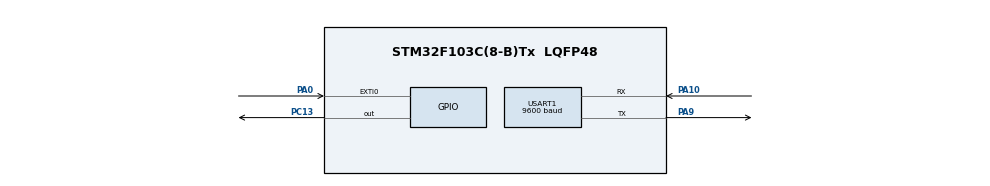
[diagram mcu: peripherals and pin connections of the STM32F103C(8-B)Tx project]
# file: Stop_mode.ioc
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Mcu.Family=STM32F1
Mcu.Name=STM32F103C(8-B)Tx
Mcu.Package=LQFP48
NVIC.EXTI0_IRQn=true\:0\:0\:false\:false\:true\:true\:true\:true
NVIC.PriorityGroup=NVIC_PRIORITYGROUP_4
NVIC.USART1_IRQn=true\:0\:0\:false\:false\:true\:true\:true\:true
PA0-WKUP.GPIO_ModeDefaultEXTI=GPIO_MODE_IT_FALLING
PA0-WKUP.GPIO_PuPd=GPIO_PULLUP
PA0-WKUP.Signal=GPXTI0
PA10.Mode=Asynchronous
PA10.Signal=USART1_RX
PA13.Mode=Serial_Wire
PA13.Signal=SYS_JTMS-SWDIO
PA14.Mode=Serial_Wire
PA14.Signal=SYS_JTCK-SWCLK
PA9.Mode=Asynchronous
PA9.Signal=USART1_TX
PC13-TAMPER-RTC.GPIO_PuPd=GPIO_NOPULL
PC13-TAMPER-RTC.PinState=GPIO_PIN_SET
PC13-TAMPER-RTC.Signal=GPIO_Output
ProjectManager.HeapSize=0x200
ProjectManager.StackSize=0x400
ProjectManager.TargetToolchain=Makefile
RCC.APB1Freq_Value=8000000
RCC.APB2Freq_Value=8000000
USART1.BaudRate=9600
USART1.VirtualMode=VM_ASYNC
board=custom

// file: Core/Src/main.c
/* USER CODE BEGIN Header */
/**
  ******************************************************************************
  * @file           : main.c
  * @brief          : Main program body
  ******************************************************************************
  * @attention
  *
  * Copyright (c) 2022 STMicroelectronics.
  * All rights reserved.
  *
  * This software is licensed under terms that can be found in the LICENSE file
  * in the root directory of this software component.
  * If no LICENSE file comes with this software, it is provided AS-IS.
  *
  ******************************************************************************
  */
/* USER CODE END Header */
#include "main.h"
#include "usart.h"
#include "gpio.h"

/* USER CODE BEGIN Includes */
#include "string.h"
/* USER CODE END Includes */

/* USER CODE BEGIN PV */
uint8_t rx[10];
/* USER CODE END PV */

void SystemClock_Config(void);

int main(void)
{

  /* MCU Configuration--------------------------------------------------------*/

  /* Reset of all peripherals, Initializes the Flash interface and the Systick. */
  HAL_Init();

  /* Configure the system clock */
  SystemClock_Config();

  /* Initialize all configured peripherals */
  MX_GPIO_Init();
  MX_USART1_UART_Init();
  /* USER CODE BEGIN 2 */
  HAL_UART_Receive_IT(&huart1, rx, 0);
  // /****** Suspend the Ticks before entering the STOP mode or else this can wake the device up **********/
  // HAL_SuspendTick();
  //HAL_GPIO_WritePin(GPIOC, GPIO_PIN_13, GPIO_PIN_SET);
  // HAL_PWR_EnableSleepOnExit();

  // /* Enter Stop Mode */
  // HAL_PWR_EnterSTOPMode(PWR_LOWPOWERREGULATOR_ON, PWR_STOPENTRY_WFI);
  /* USER CODE END 2 */

  /* Infinite loop */
  while (1)
  {

    /* USER CODE BEGIN 3 */
    //HAL_GPIO_TogglePin(GPIOC, GPIO_PIN_13);
    /****** Suspend the Ticks before entering the STOP mode or else this can wake the device up **********/
    HAL_SuspendTick();
    HAL_PWR_EnableSleepOnExit();
    /* Enter Stop Mode */
    HAL_PWR_EnterSTOPMode(PWR_LOWPOWERREGULATOR_ON, PWR_STOPENTRY_WFI);
  	SystemClock_Config ();
	  HAL_ResumeTick();
    HAL_Delay(100);
    HAL_GPIO_TogglePin(GPIOC, GPIO_PIN_13);
    HAL_Delay(500);
  }
  /* USER CODE END 3 */
}

void SystemClock_Config(void)
{
  RCC_OscInitTypeDef RCC_OscInitStruct = {0};
  RCC_ClkInitTypeDef RCC_ClkInitStruct = {0};

  /** Initializes the RCC Oscillators according to the specified parameters
  * in the RCC_OscInitTypeDef structure.
  */
  RCC_OscInitStruct.OscillatorType = RCC_OSCILLATORTYPE_HSI;
  RCC_OscInitStruct.HSIState = RCC_HSI_ON;
  RCC_OscInitStruct.HSICalibrationValue = RCC_HSICALIBRATION_DEFAULT;
  RCC_OscInitStruct.PLL.PLLState = RCC_PLL_NONE;
  if (HAL_RCC_OscConfig(&RCC_OscInitStruct) != HAL_OK)
  {
    Error_Handler();
  }

  /** Initializes the CPU, AHB and APB buses clocks
  */
  RCC_ClkInitStruct.ClockType = RCC_CLOCKTYPE_HCLK|RCC_CLOCKTYPE_SYSCLK
                              |RCC_CLOCKTYPE_PCLK1|RCC_CLOCKTYPE_PCLK2;
  RCC_ClkInitStruct.SYSCLKSource = RCC_SYSCLKSOURCE_HSI;
  RCC_ClkInitStruct.AHBCLKDivider = RCC_SYSCLK_DIV1;
  RCC_ClkInitStruct.APB1CLKDivider = RCC_HCLK_DIV1;
  RCC_ClkInitStruct.APB2CLKDivider = RCC_HCLK_DIV1;

  if (HAL_RCC_ClockConfig(&RCC_ClkInitStruct, FLASH_LATENCY_0) != HAL_OK)
  {
    Error_Handler();
  }
}

/* USER CODE BEGIN 4 */
void HAL_GPIO_EXTI_Callback(uint16_t GPIO_Pin)
{
  if(GPIO_Pin == GPIO_PIN_0)
  {
	  // SystemClock_Config ();
	  // HAL_ResumeTick();
	  char *str = "WAKEUP FROM EXTII\n\n";
	  HAL_UART_Transmit(&huart1, (uint8_t *) str, strlen (str), HAL_MAX_DELAY);
	  //HAL_PWR_DisableSleepOnExit();
    //HAL_UART_Receive_IT(&huart1, rx, 1);
  }
}
// void HAL_UART_RxCpltCallback(UART_HandleTypeDef *huart)
// {
//     // SystemClock_Config ();
// 	  // HAL_ResumeTick();
//     char *str = "WAKEUP FROM UART\n";
//     HAL_UART_Transmit(&huart1, (uint8_t *)str, strlen(str), HAL_MAX_DELAY);
//     //HAL_PWR_DisableSleepOnExit();
//     HAL_UART_Receive_IT(&huart1, rx, 1);
// }
/* USER CODE END 4 */

void Error_Handler(void)
{
  __disable_irq();
  while (1)
  {
  }
}
